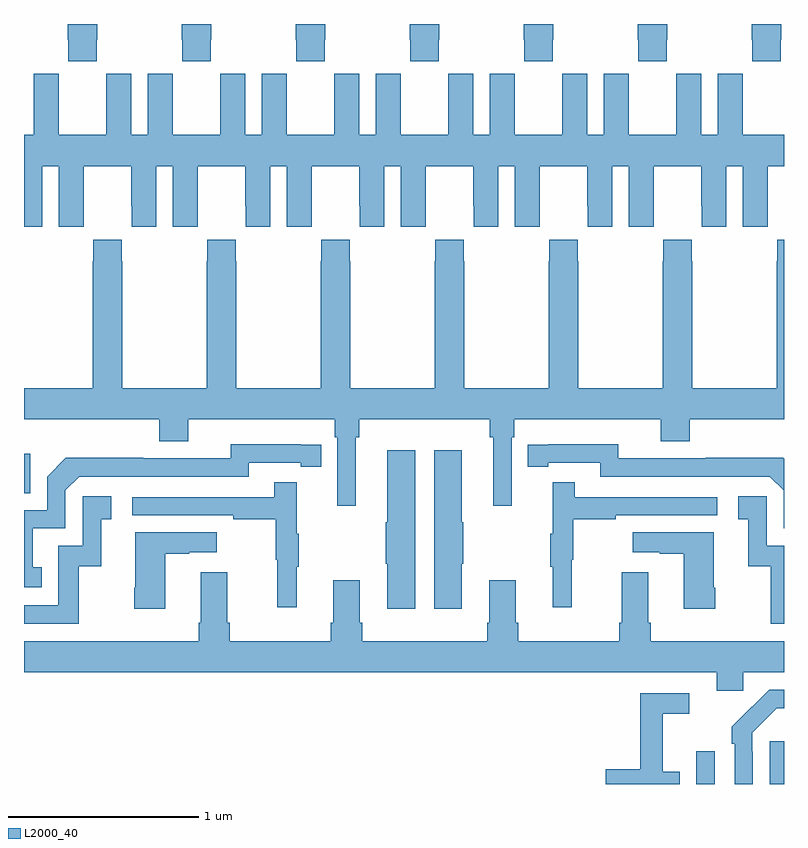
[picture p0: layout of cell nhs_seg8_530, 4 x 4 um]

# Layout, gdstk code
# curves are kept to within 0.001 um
import gdstk
lib = gdstk.Library(unit=1e-6, precision=1e-09)
def R(c, l, rs):  # rectangles x0, y0, x1, y1
    for r in rs: c.add(gdstk.rectangle(r[:2], r[2:], *l))
def P(c, l, *ps):  # polygons
    for p in ps: c.add(gdstk.Polygon(p, *l))
L2000_40 = (2000, 40)

nhs_seg8_530 = lib.new_cell('nhs_seg8_530')
R(nhs_seg8_530, L2000_40, [(148.539,1127.9,148.635,1128.073), (148.925,1127.9,149,1128.124), (145,1129.431,145.032,1129.639)])
P(nhs_seg8_530, L2000_40, [(146.583,1131.817),(146.586,1131.817),(146.586,1131.9),(146.431,1131.9),(146.431,1131.817),(146.433,1131.817),(146.433,1131.705),(146.583,1131.705)],
  [(147.183,1131.817),(147.186,1131.817),(147.186,1131.9),(147.031,1131.9),(147.031,1131.817),(147.033,1131.817),(147.033,1131.705),(147.183,1131.705)],
  [(147.783,1131.817),(147.786,1131.817),(147.786,1131.9),(147.631,1131.9),(147.631,1131.817),(147.633,1131.817),(147.633,1131.705),(147.783,1131.705)],
  [(148.383,1131.817),(148.386,1131.817),(148.386,1131.9),(148.231,1131.9),(148.231,1131.817),(148.233,1131.817),(148.233,1131.705),(148.383,1131.705)],
  [(145.383,1131.817),(145.386,1131.817),(145.386,1131.9),(145.231,1131.9),(145.231,1131.817),(145.233,1131.817),(145.233,1131.705),(145.383,1131.705)],
  [(148.983,1131.817),(148.986,1131.817),(148.986,1131.9),(148.831,1131.9),(148.831,1131.817),(148.833,1131.817),(148.833,1131.705),(148.983,1131.705)],
  [(145.983,1131.817),(145.986,1131.817),(145.986,1131.9),(145.831,1131.9),(145.831,1131.817),(145.833,1131.817),(145.833,1131.705),(145.983,1131.705)],
  [(145.184,1130.832),(145.314,1130.832),(145.314,1130.944),(145.315,1130.944),(145.315,1131.152),(145.565,1131.152),(145.565,1130.944),(145.566,1130.944),(145.566,1130.832),(145.696,1130.832),(145.696,1131.152),(145.784,1131.152),(145.784,1130.832),(145.914,1130.832),(145.914,1130.944),(145.915,1130.944),(145.915,1131.152),(146.165,1131.152),(146.165,1130.944),(146.166,1130.944),(146.166,1130.832),(146.296,1130.832),(146.296,1131.152),(146.384,1131.152),(146.384,1130.832),(146.514,1130.832),(146.514,1130.944),(146.515,1130.944),(146.515,1131.152),(146.765,1131.152),(146.765,1130.944),(146.766,1130.944),(146.766,1130.832),(146.896,1130.832),(146.896,1131.152),(146.984,1131.152),(146.984,1130.832),(147.114,1130.832),(147.114,1130.944),(147.115,1130.944),(147.115,1131.152),(147.365,1131.152),(147.365,1130.944),(147.366,1130.944),(147.366,1130.832),(147.496,1130.832),(147.496,1131.152),(147.584,1131.152),(147.584,1130.832),(147.714,1130.832),(147.714,1130.944),(147.715,1130.944),(147.715,1131.152),(147.965,1131.152),(147.965,1130.944),(147.966,1130.944),(147.966,1130.832),(148.096,1130.832),(148.096,1131.152),(148.184,1131.152),(148.184,1130.832),(148.314,1130.832),(148.314,1130.944),(148.315,1130.944),(148.315,1131.152),(148.565,1131.152),(148.565,1130.944),(148.566,1130.944),(148.566,1130.832),(148.696,1130.832),(148.696,1131.152),(148.784,1131.152),(148.784,1130.832),(148.914,1130.832),(148.914,1130.944),(148.915,1130.944),(148.915,1131.152),(149,1131.152),(149,1131.316),(148.783,1131.316),(148.783,1131.524),(148.782,1131.524),(148.782,1131.637),(148.652,1131.637),(148.652,1131.316),(148.564,1131.316),(148.564,1131.637),(148.434,1131.637),(148.434,1131.524),(148.433,1131.524),(148.433,1131.316),(148.183,1131.316),(148.183,1131.524),(148.182,1131.524),(148.182,1131.637),(148.052,1131.637),(148.052,1131.316),(147.964,1131.316),(147.964,1131.637),(147.834,1131.637),(147.834,1131.524),(147.833,1131.524),(147.833,1131.316),(147.583,1131.316),(147.583,1131.524),(147.582,1131.524),(147.582,1131.637),(147.452,1131.637),(147.452,1131.316),(147.364,1131.316),(147.364,1131.637),(147.234,1131.637),(147.234,1131.524),(147.233,1131.524),(147.233,1131.316),(146.983,1131.316),(146.983,1131.524),(146.982,1131.524),(146.982,1131.637),(146.852,1131.637),(146.852,1131.316),(146.764,1131.316),(146.764,1131.637),(146.634,1131.637),(146.634,1131.524),(146.633,1131.524),(146.633,1131.316),(146.383,1131.316),(146.383,1131.524),(146.382,1131.524),(146.382,1131.637),(146.252,1131.637),(146.252,1131.316),(146.164,1131.316),(146.164,1131.637),(146.034,1131.637),(146.034,1131.524),(146.033,1131.524),(146.033,1131.316),(145.783,1131.316),(145.783,1131.524),(145.782,1131.524),(145.782,1131.637),(145.652,1131.637),(145.652,1131.316),(145.564,1131.316),(145.564,1131.637),(145.434,1131.637),(145.434,1131.524),(145.433,1131.524),(145.433,1131.316),(145.183,1131.316),(145.183,1131.524),(145.182,1131.524),(145.182,1131.637),(145.052,1131.637),(145.052,1131.316),(145,1131.316),(145,1130.832),(145.096,1130.832),(145.096,1131.152),(145.184,1131.152)],
  [(147.918,1130.651),(147.915,1130.651),(147.915,1130.764),(147.765,1130.764),(147.765,1130.651),(147.763,1130.651),(147.763,1129.984),(147.318,1129.984),(147.318,1130.651),(147.315,1130.651),(147.315,1130.764),(147.165,1130.764),(147.165,1130.651),(147.163,1130.651),(147.163,1129.984),(146.718,1129.984),(146.718,1130.651),(146.715,1130.651),(146.715,1130.764),(146.565,1130.764),(146.565,1130.651),(146.563,1130.651),(146.563,1129.984),(146.118,1129.984),(146.118,1130.651),(146.115,1130.651),(146.115,1130.764),(145.965,1130.764),(145.965,1130.651),(145.963,1130.651),(145.963,1129.984),(145.518,1129.984),(145.518,1130.651),(145.515,1130.651),(145.515,1130.764),(145.365,1130.764),(145.365,1130.651),(145.363,1130.651),(145.363,1129.984),(145,1129.984),(145,1129.82),(145.712,1129.82),(145.712,1129.703),(145.864,1129.703),(145.864,1129.82),(146.636,1129.82),(146.636,1129.724),(146.649,1129.724),(146.649,1129.365),(146.746,1129.365),(146.746,1129.724),(146.765,1129.724),(146.765,1129.82),(147.451,1129.82),(147.451,1129.724),(147.47,1129.724),(147.47,1129.365),(147.567,1129.365),(147.567,1129.724),(147.581,1129.724),(147.581,1129.82),(148.352,1129.82),(148.352,1129.703),(148.505,1129.703),(148.505,1129.82),(149,1129.82),(149,1130.764),(148.965,1130.764),(148.965,1130.651),(148.963,1130.651),(148.963,1129.984),(148.518,1129.984),(148.518,1130.651),(148.515,1130.651),(148.515,1130.764),(148.365,1130.764),(148.365,1130.651),(148.363,1130.651),(148.363,1129.984),(147.918,1129.984)],
  [(149,1129.612),(148.996,1129.616),(148.588,1129.616),(148.588,1129.614),(148.128,1129.614),(148.128,1129.687),(147.652,1129.686),(147.652,1129.57),(147.76,1129.57),(147.76,1129.59),(148.032,1129.59),(148.032,1129.518),(148.926,1129.518),(148.998,1129.446),(148.998,1129.245),(149,1129.245)],
  [(145.094,1129.041),(145.045,1129.041),(145.045,1129.245),(145.218,1129.245),(145.218,1129.446),(145.29,1129.518),(146.184,1129.518),(146.184,1129.59),(146.456,1129.59),(146.456,1129.57),(146.564,1129.57),(146.564,1129.686),(146.088,1129.687),(146.088,1129.614),(145.628,1129.614),(145.628,1129.616),(145.22,1129.616),(145.122,1129.518),(145.122,1129.341),(145,1129.341),(145,1128.936),(145.094,1128.936)],
  [(147.304,1129.06),(147.312,1129.06),(147.312,1129.277),(147.304,1129.277),(147.304,1129.657),(147.158,1129.657),(147.158,1128.822),(147.304,1128.822)],
  [(147.058,1129.657),(146.912,1129.657),(146.912,1129.277),(146.905,1129.277),(146.905,1129.06),(146.912,1129.06),(146.912,1128.822),(147.058,1128.822)],
  [(147.884,1129.08),(147.892,1129.08),(147.892,1129.294),(148.115,1129.294),(148.115,1129.314),(148.648,1129.314),(148.648,1129.41),(147.899,1129.41),(147.899,1129.489),(147.782,1129.489),(147.782,1129.217),(147.771,1129.217),(147.771,1129.043),(147.782,1129.043),(147.782,1128.831),(147.884,1128.831)],
  [(146.435,1129.043),(146.446,1129.043),(146.446,1129.217),(146.435,1129.217),(146.435,1129.489),(146.317,1129.489),(146.317,1129.41),(145.569,1129.41),(145.569,1129.314),(146.101,1129.314),(146.101,1129.294),(146.325,1129.294),(146.325,1129.08),(146.332,1129.08),(146.332,1128.831),(146.435,1128.831)],
  [(145.288,1129.047),(145.406,1129.047),(145.406,1129.293),(145.459,1129.293),(145.459,1129.414),(145.308,1129.414),(145.308,1129.155),(145.179,1129.155),(145.179,1128.84),(145,1128.84),(145,1128.744),(145.288,1128.744)],
  [(149,1129.155),(148.908,1129.155),(148.908,1129.414),(148.758,1129.414),(148.758,1129.293),(148.811,1129.293),(148.811,1129.047),(148.929,1129.047),(148.929,1128.744),(149,1128.744)],
  [(145.744,1129.111),(145.871,1129.111),(145.871,1129.121),(146.014,1129.121),(146.014,1129.225),(145.586,1129.225),(145.586,1128.934),(145.579,1128.934),(145.579,1128.822),(145.744,1128.822)],
  [(148.638,1128.934),(148.63,1128.934),(148.63,1129.225),(148.203,1129.225),(148.203,1129.121),(148.346,1129.121),(148.346,1129.111),(148.472,1129.111),(148.472,1128.822),(148.638,1128.822)],
  [(148.785,1128.488),(149,1128.488),(149,1128.652),(148.298,1128.652),(148.298,1128.748),(148.285,1128.748),(148.285,1129.015),(148.145,1129.015),(148.145,1128.748),(148.133,1128.748),(148.133,1128.652),(147.602,1128.652),(147.602,1128.748),(147.589,1128.748),(147.589,1128.973),(147.449,1128.973),(147.449,1128.748),(147.437,1128.748),(147.437,1128.652),(146.78,1128.652),(146.78,1128.748),(146.767,1128.748),(146.767,1128.973),(146.627,1128.973),(146.627,1128.748),(146.615,1128.748),(146.615,1128.652),(146.084,1128.652),(146.084,1128.748),(146.071,1128.748),(146.071,1129.015),(145.931,1129.015),(145.931,1128.748),(145.919,1128.748),(145.919,1128.652),(145,1128.652),(145,1128.488),(148.646,1128.488),(148.646,1128.39),(148.785,1128.39)],
  [(148.836,1128.071),(148.833,1128.071),(148.833,1128.171),(148.962,1128.3),(149,1128.3),(149,1128.396),(148.922,1128.396),(148.725,1128.201),(148.725,1128.113),(148.74,1128.113),(148.74,1127.9),(148.836,1127.9)],
  [(148.45,1127.965),(148.361,1127.965),(148.361,1128.27),(148.501,1128.27),(148.501,1128.378),(148.243,1128.378),(148.243,1127.978),(148.062,1127.978),(148.062,1127.9),(148.45,1127.9)])

lib.write_gds('nhs_seg8_530.gds')
